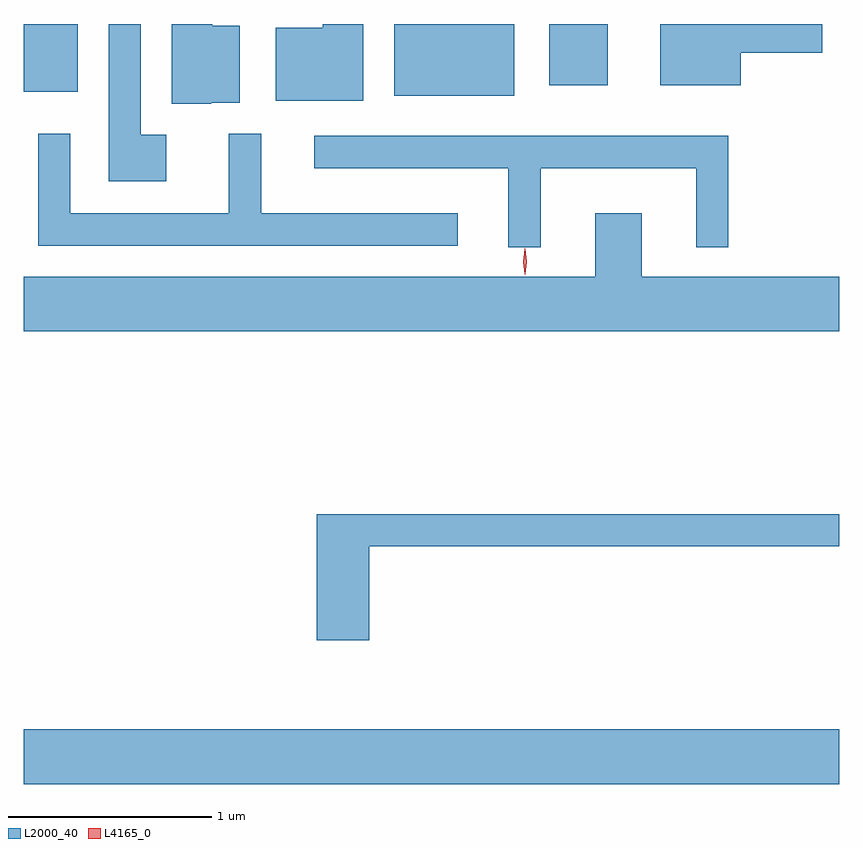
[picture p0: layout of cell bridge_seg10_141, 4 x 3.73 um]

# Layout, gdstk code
import gdstk
lib = gdstk.Library(unit=1e-6, precision=1e-09)
def R(c, l, rs):  # rectangles x0, y0, x1, y1
    for r in rs: c.add(gdstk.rectangle(r[:2], r[2:], *l))
def P(c, l, *ps):  # polygons
    for p in ps: c.add(gdstk.Polygon(p, *l))
L2000_40 = (2000, 40)
L4165_0 = (4165, 0)

bridge_seg10_141 = lib.new_cell('bridge_seg10_141')
R(bridge_seg10_141, L2000_40, [(1519.189,2133.896,1523.189,2134.164), (1521.006,2137.271,1521.594,2137.622), (1519.189,2137.291,1519.454,2137.622), (1521.766,2137.321,1522.054,2137.622)])
P(bridge_seg10_141, L2000_40, [(1520.11,2137.236),(1520.249,2137.236),(1520.249,2137.614),(1520.114,2137.614),(1520.114,2137.622),(1519.916,2137.622),(1519.916,2137.231),(1520.11,2137.231)],
  [(1519.889,2137.079),(1519.764,2137.079),(1519.764,2137.622),(1519.606,2137.622),(1519.606,2136.851),(1519.889,2136.851)],
  [(1520.854,2137.622),(1520.656,2137.622),(1520.656,2137.604),(1520.426,2137.604),(1520.426,2137.246),(1520.854,2137.246)],
  [(1522.704,2137.481),(1523.104,2137.481),(1523.104,2137.622),(1522.311,2137.622),(1522.311,2137.321),(1522.704,2137.321)],
  [(1521.318,2136.694),(1520.354,2136.694),(1520.354,2137.083),(1520.196,2137.083),(1520.196,2136.694),(1519.419,2136.694),(1519.419,2137.083),(1519.261,2137.083),(1519.261,2136.536),(1521.318,2136.536)],
  [(1521.724,2136.916),(1522.486,2136.916),(1522.486,2136.528),(1522.644,2136.528),(1522.644,2137.074),(1520.613,2137.074),(1520.613,2136.916),(1521.566,2136.916),(1521.566,2136.528),(1521.724,2136.528)],
  [(1523.189,2136.384),(1522.219,2136.384),(1522.219,2136.694),(1521.991,2136.694),(1521.991,2136.384),(1519.189,2136.384),(1519.189,2136.116),(1523.189,2136.116)],
  [(1520.884,2135.061),(1523.189,2135.061),(1523.189,2135.219),(1520.626,2135.219),(1520.626,2134.601),(1520.884,2134.601)])
P(bridge_seg10_141, L4165_0, [(1521.648,2136.393),(1521.647,2136.394),(1521.638,2136.457),(1521.647,2136.521),(1521.647,2136.522),(1521.648,2136.521),(1521.657,2136.457),(1521.648,2136.394)])

lib.write_gds('bridge_seg10_141.gds')
